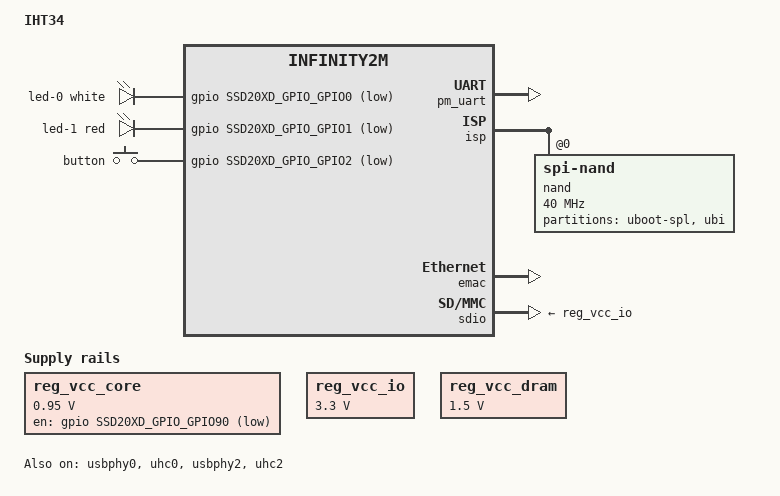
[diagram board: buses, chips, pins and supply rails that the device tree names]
// SPDX-License-Identifier: GPL-2.0-or-later
/*
 * Copyright (c) 2022 thingy.jp.
 * Author: Daniel Palmer <daniel@thingy.jp>
 */

/dts-v1/;
#include "mstar-infinity2m-ssd202d.dtsi"

#include <dt-bindings/gpio/gpio.h>
#include <dt-bindings/leds/common.h>

/ {
	model = "IHT34";
	compatible = "iht34", "mstar,infinity2m";

	aliases {
		serial0 = &pm_uart;
	};

	chosen {
		bootargs = "console=ttyS0,115200 clk_ignore_unused earlyprintk";
		stdout-path = "serial0:115200n8";
	};

	leds {
		compatible = "gpio-leds";
		led-0 {
			color = <LED_COLOR_ID_WHITE>;
			function = LED_FUNCTION_INDICATOR;
			gpios = <&gpio SSD20XD_GPIO_GPIO0 GPIO_ACTIVE_LOW>;
			linux,default-trigger = "activity";
		};
		led-1 {
			color = <LED_COLOR_ID_RED>;
			function = LED_FUNCTION_INDICATOR;
			gpios = <&gpio SSD20XD_GPIO_GPIO1 GPIO_ACTIVE_LOW>;
			linux,default-trigger = "heartbeat";
		};
	};

	gpio-keys {
		compatible = "gpio-keys-polled";
		poll-interval = <100>;

		button {
			label = "button";
			gpios = <&gpio SSD20XD_GPIO_GPIO2 GPIO_ACTIVE_LOW>;
			linux,code = <0x100>; /* BTN_0 */
		};
	};

	reg_vcc_core: regulator-vcc-core {
		compatible = "regulator-gpio";
		regulator-name = "vcc_core";
		regulator-type = "voltage";
		regulator-min-microvolt = <950000>;
		regulator-max-microvolt = <1000000>;
		regulator-boot-on;
		regulator-ramp-delay = <12000>;
		gpios = <&gpio SSD20XD_GPIO_GPIO90 GPIO_ACTIVE_LOW>;
		states = <1000000 0x1
				  950000  0x0>;
	};

	reg_vcc_core: regulator-vcc-core {
		compatible = "regulator-fixed";
		regulator-name = "vcc_core";
		regulator-min-microvolt = <950000>;
		regulator-max-microvolt = <950000>;
		regulator-boot-on;
	};

	reg_vcc_io: regulator-vcc-io {
		compatible = "regulator-fixed";
		regulator-name = "vcc_io";
		regulator-min-microvolt = <3300000>;
		regulator-max-microvolt = <3300000>;
		regulator-boot-on;
	};

	reg_vcc_dram: regulator-vcc-dram {
		compatible = "regulator-fixed";
		regulator-name = "vcc_dram";
		regulator-min-microvolt = <1500000>;
		regulator-max-microvolt = <1500000>;
		regulator-boot-on;
	};
};

&cpu0 {
	cpu-supply = <&reg_vcc_core>;
};

&pm_uart {
	status = "okay";
};

&isp {
	//status = "okay";
	nand: nand@0 {
		#address-cells = <1>;
		#size-cells = <1>;
		compatible = "spi-nand";
		reg = <0>;
		spi-max-frequency = <40000000>;
		spi-rx-bus-width = <4>;
		partitions {
			compatible = "fixed-partitions";
			#address-cells = <1>;
			#size-cells = <1>;

			uboot-spl@200000 {
				label = "uboot-spl";
				reg = <0x200000 0x60000>;
			};

			ubi@ec0000 {
				label = "ubi";
				reg = <0xec0000 0x1f140000>;
			};
		};
	};
};

&usbphy0 {
	status = "okay";
};

&uhc0 {
	status = "okay";
};

&usbphy2 {
	status = "okay";
};

&uhc2 {
	status = "okay";
};

&emac {
	status = "okay";
};

&miu {
	ddr-supply = <&reg_vcc_dram>;
};

&sdio {
	vmmc-supply = <&reg_vcc_io>;
	vqmmc-supply = <&reg_vcc_io>;
	status = "okay";
};
